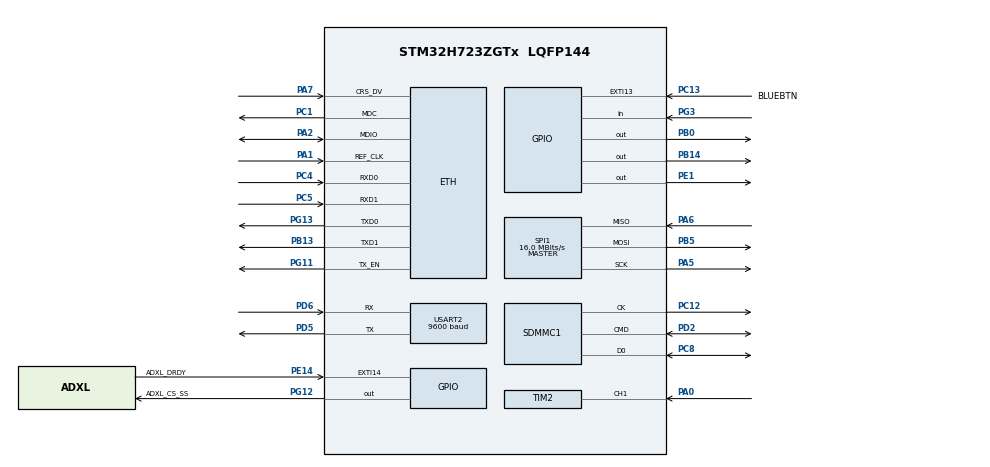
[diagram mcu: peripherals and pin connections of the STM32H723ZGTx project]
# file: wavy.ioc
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CORTEX_M7.CPU_DCache=Disabled
CORTEX_M7.CPU_ICache=Disabled
CORTEX_M7.Enable_S-Cortex_Memory_Protection_Unit_Region1_Settings_S=__NULL
CORTEX_M7.Enable_S-Cortex_Memory_Protection_Unit_Region2_Settings_S=__NULL
CORTEX_M7.Enable_S-Cortex_Memory_Protection_Unit_Region3_Settings_S=__NULL
CORTEX_M7.default_mode_Activation=1
Cesanta.I-CUBE-Mongoose.7.21.4.MongooseJjMQTTOoClient=true
Cesanta.I-CUBE-Mongoose.7.21.4.MongooseJjNetworkingOoCore=true
Dma.Request0=USART2_RX
Dma.USART2_RX.0.Direction=DMA_PERIPH_TO_MEMORY
Dma.USART2_RX.0.EventEnable=DISABLE
Dma.USART2_RX.0.FIFOMode=DMA_FIFOMODE_DISABLE
Dma.USART2_RX.0.Instance=DMA1_Stream0
Dma.USART2_RX.0.MemDataAlignment=DMA_MDATAALIGN_BYTE
Dma.USART2_RX.0.MemInc=DMA_MINC_ENABLE
Dma.USART2_RX.0.Mode=DMA_CIRCULAR
Dma.USART2_RX.0.PeriphDataAlignment=DMA_PDATAALIGN_BYTE
Dma.USART2_RX.0.PeriphInc=DMA_PINC_DISABLE
Dma.USART2_RX.0.Polarity=HAL_DMAMUX_REQ_GEN_RISING
Dma.USART2_RX.0.Priority=DMA_PRIORITY_LOW
Dma.USART2_RX.0.RequestNumber=1
Dma.USART2_RX.0.SignalID=NONE
Dma.USART2_RX.0.SyncEnable=DISABLE
Dma.USART2_RX.0.SyncPolarity=HAL_DMAMUX_SYNC_NO_EVENT
Dma.USART2_RX.0.SyncRequestNumber=1
Dma.USART2_RX.0.SyncSignalID=NONE
ETH.MediaInterface=HAL_ETH_RMII_MODE
FATFS.BSP.number=1
FATFS._FS_EXFAT=1
FATFS._USE_LFN=2
FATFS0.BSP.STBoard=false
FATFS0.BSP.api=Unknown
FATFS0.BSP.instance=PG3
FATFS0.BSP.ip=GPIO
FATFS0.BSP.mode=Input
FATFS0.BSP.name=Detect_SDIO
FATFS0.BSP.solution=PG3
FREERTOS.HEAP_NUMBER=4
FREERTOS.Tasks01=defaultTask,24,128,StartDefaultTask,Default,NULL,Dynamic,NULL,NULL
FREERTOS.configCHECK_FOR_STACK_OVERFLOW=1
FREERTOS.configTOTAL_HEAP_SIZE=32768
FREERTOS.configUSE_MALLOC_FAILED_HOOK=0
Mcu.Family=STM32H7
Mcu.Name=STM32H723ZGTx
Mcu.Package=LQFP144
NUCLEO-H723ZG.BUTTON=0
NUCLEO-H723ZG.LD1=false
NUCLEO-H723ZG.LD2=false
NUCLEO-H723ZG.LD3=false
NUCLEO-H723ZG.VCP=true
NVIC.DMA1_Stream0_IRQn=true\:5\:0\:false\:false\:true\:true\:false\:true\:true
NVIC.EXTI15_10_IRQn=true\:5\:0\:false\:false\:true\:true\:false\:true\:true
NVIC.PriorityGroup=NVIC_PRIORITYGROUP_4
NVIC.SDMMC1_IRQn=true\:5\:0\:false\:false\:true\:true\:true\:true\:true
NVIC.TIM2_IRQn=true\:5\:0\:false\:false\:true\:true\:true\:true\:true
NVIC.TIM5_IRQn=true\:5\:0\:false\:false\:true\:true\:true\:true\:true
NVIC.TIM6_DAC_IRQn=true\:15\:0\:false\:false\:true\:false\:false\:true\:true
NVIC.TimeBase=TIM6_DAC_IRQn
NVIC.TimeBaseIP=TIM6
NVIC.USART2_IRQn=true\:5\:0\:false\:false\:true\:true\:true\:true\:true
PA0.Signal=S_TIM2_CH1_ETR
PA1.Mode=RMII
PA1.Signal=ETH_REF_CLK
PA13(JTMS/SWDIO).GPIO_Label=SWDIO
PA13(JTMS/SWDIO).Signal=DEBUG_JTMS-SWDIO
PA14(JTCK/SWCLK).GPIO_Label=SWCLK
PA14(JTCK/SWCLK).Signal=DEBUG_JTCK-SWCLK
PA2.Mode=RMII
PA2.Signal=ETH_MDIO
PA5.Mode=Full_Duplex_Master
PA5.Signal=SPI1_SCK
PA6.Mode=Full_Duplex_Master
PA6.Signal=SPI1_MISO
PA7.Mode=RMII
PA7.Signal=ETH_CRS_DV
PB0.Signal=GPIO_Output
PB13.Mode=RMII
PB13.Signal=ETH_TXD1
PB14.Signal=GPIO_Output
PB5.Mode=Full_Duplex_Master
PB5.Signal=SPI1_MOSI
PC1.Mode=RMII
PC1.Signal=ETH_MDC
PC12.Mode=SD_1_bit
PC12.Signal=SDMMC1_CK
PC13.GPIO_Label=BLUEBTN
PC13.Signal=GPXTI13
PC14-OSC32_IN.Mode=LSE-External-Oscillator
PC14-OSC32_IN.Signal=RCC_OSC32_IN
PC15-OSC32_OUT.Mode=LSE-External-Oscillator
PC15-OSC32_OUT.Signal=RCC_OSC32_OUT
PC4.Mode=RMII
PC4.Signal=ETH_RXD0
PC5.Mode=RMII
PC5.Signal=ETH_RXD1
PC8.Mode=SD_1_bit
PC8.Signal=SDMMC1_D0
PD2.Mode=SD_1_bit
PD2.Signal=SDMMC1_CMD
PD5.Mode=Asynchronous
PD5.Signal=USART2_TX
PD6.Mode=Asynchronous
PD6.Signal=USART2_RX
PD8.Signal=USART3_TX
PD9.Signal=USART3_RX
PE1.Signal=GPIO_Output
PE14.GPIO_Label=ADXL_DRDY
PE14.Signal=GPXTI14
PG11.Mode=RMII
PG11.Signal=ETH_TX_EN
PG12.GPIO_Label=ADXL_CS_SS
PG12.PinState=GPIO_PIN_SET
PG12.Signal=GPIO_Output
PG13.Mode=RMII
PG13.Signal=ETH_TXD0
PG3.Signal=GPIO_Input
ProjectManager.HeapSize=0x10000
ProjectManager.StackSize=0x2000
ProjectManager.TargetToolchain=CMake
RCC.ADCFreq_Value=608000000
RCC.APB1Freq_Value=96000000
RCC.APB2Freq_Value=96000000
RCC.APB3Freq_Value=96000000
RCC.APB4Freq_Value=96000000
RCC.CortexFreq_Value=384000000
RCC.D1PPRE=RCC_APB3_DIV2
RCC.D2PPRE1=RCC_APB1_DIV2
RCC.D2PPRE2=RCC_APB2_DIV2
RCC.D3PPRE=RCC_APB4_DIV2
RCC.DIVM1=4
RCC.DIVM2=1
RCC.DIVN1=24
RCC.DIVN2=19
RCC.DIVP1=1
RCC.DIVQ1=3
RCC.HCLKFreq_Value=192000000
RCC.HPRE=RCC_HCLK_DIV2
RCC.HSE_VALUE=8000000
RCC.PLLFRACN=0
RCC.RTCClockSelection=RCC_RTCCLKSOURCE_LSE
RCC.SYSCLKFreq_VALUE=384000000
RCC.SYSCLKSource=RCC_SYSCLKSOURCE_PLLCLK
RCC.USBCLockSelection=RCC_USBCLKSOURCE_HSI48
RCC.USBFreq_Value=48000000
RTC.WakeUpCounter-WakeUp=2048
SDMMC1.ClockDiv=320
SH.S_TIM2_CH1_ETR.0=TIM2_CH1,Input_Capture1_from_TI1
SPI1.BaudRatePrescaler=SPI_BAUDRATEPRESCALER_8
SPI1.CalculateBaudRate=16.0 MBits/s
SPI1.DataSize=SPI_DATASIZE_8BIT
SPI1.Direction=SPI_DIRECTION_2LINES
SPI1.Mode=SPI_MODE_MASTER
SPI1.VirtualType=VM_MASTER
TIM2.Channel-Input_Capture1_from_TI1=TIM_CHANNEL_1
TIM5.Period=10000-1
TIM5.Prescaler=19200-1
USART2.BaudRate=9600
USART2.VirtualMode-Asynchronous=VM_ASYNC
VP_Cesanta.I-CUBE-Mongoose_VS_MongooseJjMQTTOoClient_7.21.4_7.21.4.Mode=MongooseJjMQTTOoClient
VP_Cesanta.I-CUBE-Mongoose_VS_MongooseJjNetworkingOoCore_7.21.4_7.21.4.Mode=MongooseJjNetworkingOoCore
VP_FATFS_VS_SDIO.Mode=SDIO
VP_FREERTOS_VS_CMSIS_V2.Mode=CMSIS_V2
VP_MEMORYMAP_VS_MEMORYMAP.Mode=CurAppReg
VP_NUCLEO-H723ZG_VS_BSP_COMMON.Mode=COMMON
VP_RNG_VS_RNG.Mode=RNG_Activate
VP_RTC_VS_RTC_Activate.Mode=RTC_Enabled
VP_RTC_VS_RTC_Calendar.Mode=RTC_Calendar
VP_RTC_VS_RTC_WakeUp_intern.Mode=WakeUp
VP_SYS_VS_tim6.Mode=TIM6
VP_TIM5_VS_ClockSourceINT.Mode=Internal
board=NUCLEO-H723ZG

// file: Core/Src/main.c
/* USER CODE BEGIN Header */
/**
 ******************************************************************************
 * @file           : main.c
 * @brief          : Main program body
 ******************************************************************************
 * @attention
 *
 * Copyright (c) 2026 STMicroelectronics.
 * All rights reserved.
 *
 * This software is licensed under terms that can be found in the LICENSE file
 * in the root directory of this software component.
 * If no LICENSE file comes with this software, it is provided AS-IS.
 *
 ******************************************************************************
 */
/* USER CODE END Header */
#include "main.h"
#include "FreeRTOS.h"
#include "cmsis_os2.h"
#include "fatfs.h"
#include "string.h"

/* USER CODE BEGIN Includes */
/// Utility I wrote
#include "axl.h"
/// Networking library, never really used it...
#include "mongoose.h"
#include "stdlib.h"
#include "string.h"
/// Common functions
#include "wavy.h"
/* USER CODE END Includes */

#if defined(__ICCARM__) /*!< IAR Compiler */
#pragma location = 0x30000000
ETH_DMADescTypeDef
    DMARxDscrTab[ETH_RX_DESC_CNT]; /* Ethernet Rx DMA Descriptors */
#pragma location = 0x30000080
ETH_DMADescTypeDef
    DMATxDscrTab[ETH_TX_DESC_CNT]; /* Ethernet Tx DMA Descriptors */

#elif defined(__CC_ARM) /* MDK ARM Compiler */

__attribute__((at(0x30000000))) ETH_DMADescTypeDef
    DMARxDscrTab[ETH_RX_DESC_CNT]; /* Ethernet Rx DMA Descriptors */
__attribute__((at(0x30000080))) ETH_DMADescTypeDef
    DMATxDscrTab[ETH_TX_DESC_CNT]; /* Ethernet Tx DMA Descriptors */

#elif defined(__GNUC__) /* GNU Compiler */

ETH_DMADescTypeDef DMARxDscrTab[ETH_RX_DESC_CNT] __attribute__((
    section(".RxDescripSection"))); /* Ethernet Rx DMA Descriptors */
ETH_DMADescTypeDef DMATxDscrTab[ETH_TX_DESC_CNT] __attribute__((
    section(".TxDescripSection"))); /* Ethernet Tx DMA Descriptors */
#endif

ETH_TxPacketConfig TxConfig;

COM_InitTypeDef BspCOMInit;

ETH_HandleTypeDef heth;

RNG_HandleTypeDef hrng;

RTC_HandleTypeDef hrtc;

SD_HandleTypeDef hsd1;

SPI_HandleTypeDef hspi1;

TIM_HandleTypeDef htim2;
TIM_HandleTypeDef htim5;

UART_HandleTypeDef huart2;
DMA_HandleTypeDef  hdma_usart2_rx;

/* Definitions for defaultTask */
osThreadId_t         defaultTaskHandle;
const osThreadAttr_t defaultTask_attributes = {
    .name       = "defaultTask",
    .stack_size = 128 * 4,
    .priority   = (osPriority_t)osPriorityNormal,
};
/* USER CODE BEGIN PV */
void
parse_nmea(void);
int
_write(int            fd,
       unsigned char* buf,
       int            len)
{
    HAL_UART_Transmit(&hcom_uart[COM1], buf, len, HAL_MAX_DELAY);
    return len;
}

/// NOTE: The whole firmware init should include verification of sd card,
/// the fs, settings bit flags on if we are saving to sd or just transmitting
/// (should also include the adxl section etc etc
// TODO: Initialization takes into consideration other sensors
// TODO: Check frequency
// FIXME: add some led blinking showing initialization (partly implemented)

/// Thread metadata
/// The stack numbers were sort of arbitrarily chosen...
osThreadId_t         pps_thread_handle;
const osThreadAttr_t pps_thread_attributes = {
    .name       = "ppsTask",
    .stack_size = DEFAULT_STACK_SIZE * 4,
    .priority   = (osPriority_t)osPriorityNormal,
};
osThreadId_t         gps_thread_handle;
const osThreadAttr_t gps_thread_attributes = {
    .name       = "gpsTask",
    .stack_size = DEFAULT_STACK_SIZE * 4,
    .priority   = (osPriority_t)osPriorityNormal,
};
osThreadId_t         adxl_thread_handle;
const osThreadAttr_t adxl_thread_attributes = {
    .name       = "adxlTask",
    .stack_size = DEFAULT_STACK_SIZE * 4,
    .priority   = (osPriority_t)osPriorityNormal,
};
osThreadId_t         mngs_thread_handle;
const osThreadAttr_t mngs_thread_attributes = {
    .name       = "mngsTask",
    .stack_size = DEFAULT_STACK_SIZE * 16,
    .priority   = (osPriority_t)osPriorityNormal,
};
osThreadId_t         sdcard_thread_handle;
const osThreadAttr_t sdcard_thread_attributes = {
    .name = "sdcardTask",
    // FIXME: Maybe we can lower this? lol
    .stack_size = DEFAULT_STACK_SIZE * 32,
    .priority   = (osPriority_t)osPriorityNormal,
};

/// Main mongoose thread that will be associated with the handle
void
mngs_thread(void* argument)
{
    struct mg_mgr mgr;
    mg_mgr_init(&mgr);
    mg_log_set(MG_LL_DEBUG);
    while (1)
    {
        mg_mgr_poll(&mgr, 0);
    }
}
// FIXME: how should sensitivity be chosen and in what variable will it be kept
WAVYD1 struct wavyGPS wavyTimeData = {
    .format = {'\0'}, .date_str = {'\0'}, .time_str = {'\0'}};
uint8_t wavyBuf[ADXL_BUFF_SIZE_UNALIGNED] = {0};
// BUG: Test this without WAVY_D1
WAVYD1 uint8_t wavyBackBuf[ADXL_BUFF_SIZE] = {0};
uint8_t        wavyFifo[ADXL_BUFF_SIZE]    = {0};

WAVYD1 FATFS  fs;
WAVYD1 FATFS* fs_ptr;
WAVYD1 FIL    file;
WAVYD1 BYTE   work[512];

#define SDPREPW   0b00000001
#define SDREADYW  0b00000010
#define SDUNMOUNT 0b10000000
uint8_t sdflags = 0;
/// All of this function is very very messy
void
sdcard_thread(void* argument)
{
    FRESULT ecr, ew, efc, em, eum, efree;
    DWORD   freeclust;
    // ecr = f_mkfs("", FM_EXFAT, 0, work, 512);
    osThreadFlagsWait(SDINIT_THR_FLAG, osFlagsWaitAny, osWaitForever);
    char fname[16];
    memcpy(fname, wavyTimeData.time_str, 6);
    fname[6] = '_';
    memcpy(fname + 7, wavyTimeData.date_str, 6);
    fname[13] = '_';
    int m     = '0';
    fname[14] = m;
    fname[15] = '\0';
    UINT    x;
    UINT    y;
    uint8_t wMarker[32] = {'w', 'a', 'v', 'y'};
    while (1)
    {
        if (!(sdflags & SDREADYW))
        {
            osThreadFlagsWait(SDPREPW_THR_FLAG, osFlagsWaitAny, osWaitForever);
            em = f_mount(&fs, "", 1);
            if (em == FR_OK)
            {
                HAL_GPIO_TogglePin(LED1_GPIO_PORT, LED1_PIN);
            }
            else
                Error_Handler();
            fname[14] += 1;
            em = f_open(&file, fname, FA_CREATE_ALWAYS | FA_WRITE);

            RTC_TimeTypeDef time;
            RTC_DateTypeDef date;
            HAL_RTC_GetTime(&hrtc, &time, RTC_FORMAT_BCD);
            HAL_RTC_GetDate(&hrtc, &date, RTC_FORMAT_BCD);
            wMarker[4] = date.Year;
            wMarker[5] = date.Month;
            wMarker[6] = date.Date;
            wMarker[7] = time.Seconds;
            wMarker[8] = time.Minutes;
            wMarker[9] = time.Hours;
            // wMarker[10] = delta;
            ew = f_write(&file, wMarker, 32, &y);
            if (em != FR_OK) Error_Handler();
            sdflags |= SDREADYW;
        }
        osThreadFlagsWait(SDWRITE_THR_FLAG, osFlagsWaitAny, osWaitForever);
        ew = f_write(&file, wavyBackBuf, ADXL_BUFF_SIZE, &x);
        if ((sdflags & SDUNMOUNT))
        {
            efc     = f_close(&file);
            eum     = f_mount(NULL, "", 0);
            sdflags = 0;
            __NOP();
        }
    }
}

void
package_prev_second()
{
    struct WavyPack wavy;
    memcpy(wavy.xyz, wavyBackBuf, ADXL_BUFF_SIZE_UNALIGNED);
    __NOP();
}
uint32_t       start_time;
uint32_t       end_time;
uint32_t       tot_time;
uint8_t        pps_enabled      = 0;
WAVYD1 uint8_t gps_rx[GPSRXSIZ] = {'a'};
/// The next two functions are used to basically just get the first tick,
/// then everything is handed off to the internal timer
/// In theory PPS is the best way to keep time, however...
/// It is better to have a safer mechanism, like syncing once with pps
/// then keeping time with something that cannot be lost (the pps signal lol)
void
pps_thread(void* argument)
{
    HAL_UARTEx_ReceiveToIdle_IT(&huart2, gps_rx, GPSRXSIZ);
    HAL_TIM_IC_Start_IT(&htim2, TIM_CHANNEL_1);
    while (1)
    {
        osThreadFlagsWait(PPS_TICK_THR_FLAG, osFlagsWaitAny, osWaitForever);
        // package_prev_second();
        // osThreadFlagsSet(gps_thread_handle, GPS_RX_THR_FLAG);
        // osDelay(1);
    }
}
uint8_t adxltoggle = 0;
uint8_t peep       = 0;
void
HAL_TIM_IC_CaptureCallback(TIM_HandleTypeDef* htim)
{
    if (htim->Instance == TIM2 && htim->Channel == HAL_TIM_ACTIVE_CHANNEL_1)
    {
        pps_enabled = 1;
        start_time  = osKernelGetTickCount();
        HAL_TIM_Base_Start_IT(&htim5);

        HAL_TIM_IC_Stop_IT(&htim2, TIM_CHANNEL_1);
    }
}

void
HAL_UARTEx_RxEventCallback(UART_HandleTypeDef* huart,
                           uint16_t            Size)
{
    if (huart->Instance == USART2)
    {
        // should be enabled after the first tick
        if (pps_enabled)
        {
            parse_nmea();
            HAL_UART_DeInit(&huart2);
        }
        else
        {
            // turns on the uart, this is to avoid synchronization issues with
            // huart
            HAL_UARTEx_ReceiveToIdle_IT(&huart2, gps_rx, GPSRXSIZ);
            memset(gps_rx, '\0', GPSRXSIZ);
        }
    }
    // osThreadFlagsSet(gps_thread_handle, NMEA_PROC_THR_FLAG);
}
uint32_t errs = 0;
void
HAL_UART_ErrorCallback(UART_HandleTypeDef* huart)
{
    // BUG: nasty hal bug
    __HAL_UART_CLEAR_OREFLAG(huart);
    errs++;
    if (errs == 2)
    {
        __NOP();
    }
    HAL_UARTEx_ReceiveToIdle_IT(&huart2, gps_rx, GPSRXSIZ);
}

void
HAL_GPIO_EXTI_Callback(uint16_t GPIO_Pin)
{
    if (GPIO_Pin == ADXL_DRDY_Pin)
    {
        osThreadFlagsSet(adxl_thread_handle, ADXL_DATA_THR_FLAG);
    }
    if (GPIO_Pin == BLUEBTN_Pin)
    {
        HAL_GPIO_TogglePin(LED1_GPIO_PORT, LED1_PIN);
        if (sdflags == 0)
        {
            sdflags |= SDPREPW;
        }
        if (sdflags & SDREADYW)
        {
            sdflags |= SDUNMOUNT;
        }
    }
}

void
parse_nmea(void)
{
    char    buf[12]        = {'\0'};
    uint8_t datetime_flags = 0x00;
    uint8_t scratch        = 0;
    uint8_t section        = 0;
    // FIXME: this should save the whole time and date string,
    // then parse that, as opposed to reading 2 then 2
    for (int idx = 0; idx < GPSRXSIZ; idx++)
    {
        if (gps_rx[idx] == '$')
        {
            idx++;
            // Not enough data
            if (idx >= 1018) break;
            // FIXME: I dont like this...
            memcpy(wavyTimeData.format, gps_rx + idx, 5);
            wavyTimeData.format[5] = '\0';
            // NOTE: GNRMC state machine, we favor GNRMC because it provides the
            // most data
            if (strcmp("GNRMC", wavyTimeData.format) == 0)
            {
                idx += 5;
                size_t jdx = 0;
                while (idx < GPSRXSIZ)
                {
                    if (gps_rx[idx] == ',')
                    {
                        idx++;
                        section++;
                        continue;
                    }
                    if (section == PARSE_TIME)
                    {
                        buf[jdx] = gps_rx[idx];
                        if (jdx == 5 && !(datetime_flags & TIME_OBTAINED))
                        {
                            memcpy(wavyTimeData.time_str, buf, 6);
                            wavyTimeData.time_str[6] = '\0';
                            char* seconds_slice      = buf + 4;
                            char* minutes_slice      = buf + 2;
                            char* hours_slice        = buf;
                            scratch = strtol(seconds_slice, NULL, 10);
                            wavyTimeData.time.Seconds = scratch;
                            seconds_slice[0]          = '\0'; // End string here

                            scratch = strtol(minutes_slice, NULL, 10);
                            wavyTimeData.time.Minutes = scratch;
                            minutes_slice[0]          = '\0';

                            scratch = strtol(hours_slice, NULL, 10);
                            wavyTimeData.time.Hours          = scratch;
                            wavyTimeData.time.SubSeconds     = 0;
                            wavyTimeData.time.SecondFraction = 0;
                            wavyTimeData.time.DayLightSaving =
                                RTC_DAYLIGHTSAVING_NONE;
                            wavyTimeData.time.StoreOperation =
                                RTC_STOREOPERATION_RESET;

                            datetime_flags |= TIME_OBTAINED;
                            // FIXME: the size should be a macro
                            memset(buf, '\0', 12);
                            jdx = 0;
                            // skip the .000 for now
                            idx += 4;
                            idx++;
                            continue;
                        }
                        jdx++;
                    }
                    else if (section == PARSE_DATE)
                    {
                        buf[jdx] = gps_rx[idx];
                        if (jdx == 5 && !(datetime_flags & DATE_OBTAINED))
                        {
                            memcpy(wavyTimeData.date_str, buf, 6);
                            wavyTimeData.date_str[6] = '\0';
                            char* year_slice         = buf + 4;
                            char* month_slice        = buf + 2;
                            char* day_slice          = buf;

                            scratch                = strtol(year_slice, NULL, 10);
                            wavyTimeData.date.Year = scratch;
                            year_slice[0]          = '\0';

                            scratch = strtol(month_slice, NULL, 16);
                            wavyTimeData.date.Month = scratch;
                            month_slice[0]          = '\0';

                            scratch                 = strtol(day_slice, NULL, 10);
                            wavyTimeData.date.Date  = scratch;
                            wavyTimeData.date.WeekDay = RTC_WEEKDAY_MONDAY;

                            datetime_flags |= DATE_OBTAINED;
                            // while (1)
                            // {
                            //     osDelay(1);
                            // }

                            jdx = 0;
                            idx++;
                            break;
                        }
                        jdx++;
                    }
                    idx++;
                }
            }
            else
            {
                // Skip and parse
                idx += 4;
            }
            if ((datetime_flags & TIME_OBTAINED) &&
                (datetime_flags & DATE_OBTAINED))
                break;
        }
    }
}

// FIXME: Add configurability for frequency of sensor, this includes the
// ADXL_BUFF_SIZE and ADXL_CHUNK_SIZE
void
adxl_thread(void* argument)
{
    HAL_NVIC_EnableIRQ(ADXL_DRDY_EXTI_IRQn);

    uint16_t buf_idx  = 0;
    uint16_t cbuf_idx = ADXL_CHUNK_SIZE;
    uint8_t  mult     = 1;
    for (int i = ADXL_BUFF_SIZE_UNALIGNED; i < ADXL_BUFF_SIZE; i++)
    {
        wavyFifo[i]    = 1;
        wavyBackBuf[i] = 1;
    }
    while (1)
    {
        // FIXME: This could actually all be implemented into 1 fifo and no
        // wavybuf
        osThreadFlagsWait(ADXL_DATA_THR_FLAG, osFlagsWaitAll, osWaitForever);
        adxl355_read_data(&hspi1, wavyBuf + buf_idx);
        // FIXME: isnt buf_idx always the same as cbuf_idx?
        // THINK: We might be able to get away with deleting cbuf_idx
        // FIXME: This whole double idx is weird
        buf_idx += 9;
        if (buf_idx >= cbuf_idx)
        {
            memcpy(wavyFifo, wavyFifo + ADXL_CHUNK_SIZE,
                   ADXL_BUFF_SIZE_UNALIGNED - ADXL_CHUNK_SIZE);
            memcpy(wavyFifo + (ADXL_BUFF_SIZE_UNALIGNED - ADXL_CHUNK_SIZE),
                   wavyBuf + (cbuf_idx - ADXL_CHUNK_SIZE), ADXL_CHUNK_SIZE);
            mult++;
            cbuf_idx = ADXL_CHUNK_SIZE * mult;
            if (cbuf_idx > ADXL_BUFF_SIZE_UNALIGNED)
            {
                cbuf_idx = ADXL_CHUNK_SIZE;
                mult     = 1;
            }
        }
        if (buf_idx == ADXL_BUFF_SIZE_UNALIGNED)
        {
            buf_idx = 0;
            HAL_GPIO_TogglePin(LED3_GPIO_PORT, LED3_PIN);
        }
    }
}
uint8_t time_synced = 0;
void
HAL_RTCEx_WakeUpTimerEventCallback(RTC_HandleTypeDef* hrtc)
{
    __NOP();
}
/* USER CODE END PV */

void
SystemClock_Config(void);
static void
MPU_Config(void);
static void
MX_GPIO_Init(void);
static void
MX_DMA_Init(void);
static void
MX_SPI1_Init(void);
static void
MX_ETH_Init(void);
static void
MX_RNG_Init(void);
static void
MX_RTC_Init(void);
static void
MX_SDMMC1_SD_Init(void);
static void
MX_USART2_UART_Init(void);
static void
MX_TIM2_Init(void);
static void
MX_TIM5_Init(void);
void
StartDefaultTask(void* argument);

/* USER CODE BEGIN PFP */

/* USER CODE END PFP *
/

int
main(void)
{

    /* MPU Configuration--------------------------------------------------------*/
    MPU_Config();

    /* MCU Configuration--------------------------------------------------------*/

    /* Reset of all peripherals, Initializes the Flash interface and the Systick.
     */
    HAL_Init();

    /* Configure the system clock */
    SystemClock_Config();

    /* Initialize all configured peripherals */
    MX_GPIO_Init();
    MX_DMA_Init();
    MX_SPI1_Init();
    MX_ETH_Init();
    MX_RNG_Init();
    MX_FATFS_Init();
    MX_RTC_Init();
    MX_SDMMC1_SD_Init();
    MX_USART2_UART_Init();
    MX_TIM2_Init();
    MX_TIM5_Init();
    /* USER CODE BEGIN 2 */
    // HAL_UART_DeInit(&huart2);
    //  Required for interrupts
    HAL_NVIC_SetPriorityGrouping(NVIC_PRIORITYGROUP_4);
    // HAL_UART_DeInit(&huart2);
    // This ensures the interrupt doesnt fire immediately
    __HAL_TIM_CLEAR_IT(&htim5, TIM_IT_UPDATE);
    // We want to choose when to enable this
    HAL_NVIC_DisableIRQ(ADXL_DRDY_EXTI_IRQn);
    adxl355_init(&hspi1);
    /* USER CODE END 2 */

    /* Init scheduler */
    osKernelInitialize();

    /* Create the thread(s) */
    /* creation of defaultTask */
    defaultTaskHandle =
        osThreadNew(StartDefaultTask, NULL, &defaultTask_attributes);

    /* USER CODE BEGIN RTOS_THREADS */
    /* add threads, ... */
    pps_thread_handle = osThreadNew(pps_thread, NULL, &pps_thread_attributes);
    //  gps_thread_handle  = osThreadNew(gps_thread, NULL,
    //  &gps_thread_attributes);
    adxl_thread_handle = osThreadNew(adxl_thread, NULL, &adxl_thread_attributes);
    // mngs_thread_handle   = osThreadNew(mngs_thread, NULL,
    // &mngs_thread_attributes);
    sdcard_thread_handle =
        osThreadNew(sdcard_thread, NULL, &sdcard_thread_attributes);
    /* USER CODE END RTOS_THREADS */

    /* Initialize COM1 port (115200, 8 bits (7-bit data + 1 stop bit), no parity
     */
    BspCOMInit.BaudRate   = 115200;
    BspCOMInit.WordLength = COM_WORDLENGTH_8B;
    BspCOMInit.StopBits   = COM_STOPBITS_1;
    BspCOMInit.Parity     = COM_PARITY_NONE;
    BspCOMInit.HwFlowCtl  = COM_HWCONTROL_NONE;
    if (BSP_COM_Init(COM1, &BspCOMInit) != BSP_ERROR_NONE)
    {
        Error_Handler();
    }

    /* Start scheduler */
    osKernelStart();

    /* We should never get here as control is now taken by the scheduler */

    /* Infinite loop */
    while (1)
    {

    }
}

void
SystemClock_Config(void)
{
    RCC_OscInitTypeDef RCC_OscInitStruct = {0};
    RCC_ClkInitTypeDef RCC_ClkInitStruct = {0};

    /** Supply configuration update enable
     */
    HAL_PWREx_ConfigSupply(PWR_LDO_SUPPLY);

    /** Configure the main internal regulator output voltage
     */
    __HAL_PWR_VOLTAGESCALING_CONFIG(PWR_REGULATOR_VOLTAGE_SCALE1);

    while (!__HAL_PWR_GET_FLAG(PWR_FLAG_VOSRDY))
    {
    }

    /** Configure LSE Drive Capability
     */
    HAL_PWR_EnableBkUpAccess();
    __HAL_RCC_LSEDRIVE_CONFIG(RCC_LSEDRIVE_LOW);

    /** Initializes the RCC Oscillators according to the specified parameters
     * in the RCC_OscInitTypeDef structure.
     */
    RCC_OscInitStruct.OscillatorType      = RCC_OSCILLATORTYPE_HSI48 |
                                            RCC_OSCILLATORTYPE_HSI |
                                            RCC_OSCILLATORTYPE_LSE;
    RCC_OscInitStruct.LSEState            = RCC_LSE_ON;
    RCC_OscInitStruct.HSIState            = RCC_HSI_DIV1;
    RCC_OscInitStruct.HSICalibrationValue = 64;
    RCC_OscInitStruct.HSI48State          = RCC_HSI48_ON;
    RCC_OscInitStruct.PLL.PLLState        = RCC_PLL_ON;
    RCC_OscInitStruct.PLL.PLLSource       = RCC_PLLSOURCE_HSI;
    RCC_OscInitStruct.PLL.PLLM            = 4;
    RCC_OscInitStruct.PLL.PLLN            = 24;
    RCC_OscInitStruct.PLL.PLLP            = 1;
    RCC_OscInitStruct.PLL.PLLQ            = 3;
    RCC_OscInitStruct.PLL.PLLR            = 2;
    RCC_OscInitStruct.PLL.PLLRGE          = RCC_PLL1VCIRANGE_3;
    RCC_OscInitStruct.PLL.PLLVCOSEL       = RCC_PLL1VCOWIDE;
    RCC_OscInitStruct.PLL.PLLFRACN        = 0;
    if (HAL_RCC_OscConfig(&RCC_OscInitStruct) != HAL_OK)
    {
        Error_Handler();
    }

    /** Initializes the CPU, AHB and APB buses clocks
     */
    RCC_ClkInitStruct.ClockType = RCC_CLOCKTYPE_HCLK | RCC_CLOCKTYPE_SYSCLK |
                                  RCC_CLOCKTYPE_PCLK1 | RCC_CLOCKTYPE_PCLK2 |
                                  RCC_CLOCKTYPE_D3PCLK1 | RCC_CLOCKTYPE_D1PCLK1;
    RCC_ClkInitStruct.SYSCLKSource   = RCC_SYSCLKSOURCE_PLLCLK;
    RCC_ClkInitStruct.SYSCLKDivider  = RCC_SYSCLK_DIV1;
    RCC_ClkInitStruct.AHBCLKDivider  = RCC_HCLK_DIV2;
    RCC_ClkInitStruct.APB3CLKDivider = RCC_APB3_DIV2;
    RCC_ClkInitStruct.APB1CLKDivider = RCC_APB1_DIV2;
    RCC_ClkInitStruct.APB2CLKDivider = RCC_APB2_DIV2;
    RCC_ClkInitStruct.APB4CLKDivider = RCC_APB4_DIV2;

    if (HAL_RCC_ClockConfig(&RCC_ClkInitStruct, FLASH_LATENCY_2) != HAL_OK)
    {
        Error_Handler();
    }
}

static void
MX_ETH_Init(void)
{

    static uint8_t MACAddr[6];

    heth.Instance            = ETH;
    MACAddr[0]               = 0x00;
    MACAddr[1]               = 0x80;
    MACAddr[2]               = 0xE1;
    MACAddr[3]               = 0x00;
    MACAddr[4]               = 0x00;
    MACAddr[5]               = 0x00;
    heth.Init.MACAddr        = &MACAddr[0];
    heth.Init.MediaInterface = HAL_ETH_RMII_MODE;
    heth.Init.TxDesc         = DMATxDscrTab;
    heth.Init.RxDesc         = DMARxDscrTab;
    heth.Init.RxBuffLen      = 1536;

    if (HAL_ETH_Init(&heth) != HAL_OK)
    {
        Error_Handler();
    }
}

static void
MX_RNG_Init(void)
{

    hrng.Instance                 = RNG;
    hrng.Init.ClockErrorDetection = RNG_CED_ENABLE;
    if (HAL_RNG_Init(&hrng) != HAL_OK)
    {
        Error_Handler();
    }
}

static void
MX_RTC_Init(void)
{

    RTC_TimeTypeDef sTime = {0};
    RTC_DateTypeDef sDate = {0};

    /** Initialize RTC Only
     */
    hrtc.Instance            = RTC;
    hrtc.Init.HourFormat     = RTC_HOURFORMAT_24;
    hrtc.Init.AsynchPrediv   = 127;
    hrtc.Init.SynchPrediv    = 255;
    hrtc.Init.OutPut         = RTC_OUTPUT_DISABLE;
    hrtc.Init.OutPutPolarity = RTC_OUTPUT_POLARITY_HIGH;
    hrtc.Init.OutPutType     = RTC_OUTPUT_TYPE_OPENDRAIN;
    hrtc.Init.OutPutRemap    = RTC_OUTPUT_REMAP_NONE;
    if (HAL_RTC_Init(&hrtc) != HAL_OK)
    {
        Error_Handler();
    }

    /** Initialize RTC and set the Time and Date
     */
    sTime.Hours          = 0x0;
    sTime.Minutes        = 0x0;
    sTime.Seconds        = 0x0;
    sTime.DayLightSaving = RTC_DAYLIGHTSAVING_NONE;
    sTime.StoreOperation = RTC_STOREOPERATION_RESET;
    if (HAL_RTC_SetTime(&hrtc, &sTime, RTC_FORMAT_BCD) != HAL_OK)
    {
        Error_Handler();
    }
    sDate.WeekDay = RTC_WEEKDAY_MONDAY;
    sDate.Month   = RTC_MONTH_JANUARY;
    sDate.Date    = 0x1;
    sDate.Year    = 0x0;

    if (HAL_RTC_SetDate(&hrtc, &sDate, RTC_FORMAT_BCD) != HAL_OK)
    {
        Error_Handler();
    }

    /** Enable the WakeUp
     */
    if (HAL_RTCEx_SetWakeUpTimer(&hrtc, 2048, RTC_WAKEUPCLOCK_RTCCLK_DIV16) !=
        HAL_OK)
    {
        Error_Handler();
    }
}

static void
MX_SDMMC1_SD_Init(void)
{

    hsd1.Instance                 = SDMMC1;
    hsd1.Init.ClockEdge           = SDMMC_CLOCK_EDGE_RISING;
    hsd1.Init.ClockPowerSave      = SDMMC_CLOCK_POWER_SAVE_DISABLE;
    hsd1.Init.BusWide             = SDMMC_BUS_WIDE_1B;
    hsd1.Init.HardwareFlowControl = SDMMC_HARDWARE_FLOW_CONTROL_DISABLE;
    hsd1.Init.ClockDiv            = 320;
    if (HAL_SD_Init(&hsd1) != HAL_OK)
    {
        Error_Handler();
    }
}

static void
MX_SPI1_Init(void)
{

    /* SPI1 parameter configuration*/
    hspi1.Instance               = SPI1;
    hspi1.Init.Mode              = SPI_MODE_MASTER;
    hspi1.Init.Direction         = SPI_DIRECTION_2LINES;
    hspi1.Init.DataSize          = SPI_DATASIZE_8BIT;
    hspi1.Init.CLKPolarity       = SPI_POLARITY_LOW;
    hspi1.Init.CLKPhase          = SPI_PHASE_1EDGE;
    hspi1.Init.NSS               = SPI_NSS_SOFT;
    hspi1.Init.BaudRatePrescaler = SPI_BAUDRATEPRESCALER_8;
    hspi1.Init.FirstBit          = SPI_FIRSTBIT_MSB;
    hspi1.Init.TIMode            = SPI_TIMODE_DISABLE;
    hspi1.Init.CRCCalculation    = SPI_CRCCALCULATION_DISABLE;
    hspi1.Init.CRCPolynomial     = 0x0;
    hspi1.Init.NSSPMode          = SPI_NSS_PULSE_ENABLE;
    hspi1.Init.NSSPolarity       = SPI_NSS_POLARITY_LOW;
    hspi1.Init.FifoThreshold     = SPI_FIFO_THRESHOLD_01DATA;
    hspi1.Init.TxCRCInitializationPattern =
        SPI_CRC_INITIALIZATION_ALL_ZERO_PATTERN;
    hspi1.Init.RxCRCInitializationPattern =
        SPI_CRC_INITIALIZATION_ALL_ZERO_PATTERN;
    hspi1.Init.MasterSSIdleness        = SPI_MASTER_SS_IDLENESS_00CYCLE;
    hspi1.Init.MasterInterDataIdleness = SPI_MASTER_INTERDATA_IDLENESS_00CYCLE;
    hspi1.Init.MasterReceiverAutoSusp  = SPI_MASTER_RX_AUTOSUSP_DISABLE;
    hspi1.Init.MasterKeepIOState       = SPI_MASTER_KEEP_IO_STATE_DISABLE;
    hspi1.Init.IOSwap                  = SPI_IO_SWAP_DISABLE;
    if (HAL_SPI_Init(&hspi1) != HAL_OK)
    {
        Error_Handler();
    }
}

static void
MX_TIM2_Init(void)
{

    TIM_MasterConfigTypeDef sMasterConfig = {0};
    TIM_IC_InitTypeDef      sConfigIC     = {0};

    htim2.Instance               = TIM2;
    htim2.Init.Prescaler         = 0;
    htim2.Init.CounterMode       = TIM_COUNTERMODE_UP;
    htim2.Init.Period            = 4294967295;
    htim2.Init.ClockDivision     = TIM_CLOCKDIVISION_DIV1;
    htim2.Init.AutoReloadPreload = TIM_AUTORELOAD_PRELOAD_DISABLE;
    if (HAL_TIM_IC_Init(&htim2) != HAL_OK)
    {
        Error_Handler();
    }
    sMasterConfig.MasterOutputTrigger = TIM_TRGO_RESET;
    sMasterConfig.MasterSlaveMode     = TIM_MASTERSLAVEMODE_DISABLE;
    if (HAL_TIMEx_MasterConfigSynchronization(&htim2, &sMasterConfig) != HAL_OK)
    {
        Error_Handler();
    }
    sConfigIC.ICPolarity  = TIM_INPUTCHANNELPOLARITY_RISING;
    sConfigIC.ICSelection = TIM_ICSELECTION_DIRECTTI;
    sConfigIC.ICPrescaler = TIM_ICPSC_DIV1;
    sConfigIC.ICFilter    = 0;
    if (HAL_TIM_IC_ConfigChannel(&htim2, &sConfigIC, TIM_CHANNEL_1) != HAL_OK)
    {
        Error_Handler();
    }
}

static void
MX_TIM5_Init(void)
{

    TIM_ClockConfigTypeDef  sClockSourceConfig = {0};
    TIM_MasterConfigTypeDef sMasterConfig      = {0};

    htim5.Instance               = TIM5;
    htim5.Init.Prescaler         = 19200 - 1;
    htim5.Init.CounterMode       = TIM_COUNTERMODE_UP;
    htim5.Init.Period            = 10000 - 1;
    htim5.Init.ClockDivision     = TIM_CLOCKDIVISION_DIV1;
    htim5.Init.AutoReloadPreload = TIM_AUTORELOAD_PRELOAD_DISABLE;
    if (HAL_TIM_Base_Init(&htim5) != HAL_OK)
    {
        Error_Handler();
    }
    sClockSourceConfig.ClockSource = TIM_CLOCKSOURCE_INTERNAL;
    if (HAL_TIM_ConfigClockSource(&htim5, &sClockSourceConfig) != HAL_OK)
    {
        Error_Handler();
    }
    sMasterConfig.MasterOutputTrigger = TIM_TRGO_RESET;
    sMasterConfig.MasterSlaveMode     = TIM_MASTERSLAVEMODE_DISABLE;
    if (HAL_TIMEx_MasterConfigSynchronization(&htim5, &sMasterConfig) != HAL_OK)
    {
        Error_Handler();
    }
}

static void
MX_USART2_UART_Init(void)
{

    huart2.Instance                    = USART2;
    huart2.Init.BaudRate               = 9600;
    huart2.Init.WordLength             = UART_WORDLENGTH_8B;
    huart2.Init.StopBits               = UART_STOPBITS_1;
    huart2.Init.Parity                 = UART_PARITY_NONE;
    huart2.Init.Mode                   = UART_MODE_TX_RX;
    huart2.Init.HwFlowCtl              = UART_HWCONTROL_NONE;
    huart2.Init.OverSampling           = UART_OVERSAMPLING_16;
    huart2.Init.OneBitSampling         = UART_ONE_BIT_SAMPLE_DISABLE;
    huart2.Init.ClockPrescaler         = UART_PRESCALER_DIV1;
    huart2.AdvancedInit.AdvFeatureInit = UART_ADVFEATURE_NO_INIT;
    if (HAL_UART_Init(&huart2) != HAL_OK)
    {
        Error_Handler();
    }
    if (HAL_UARTEx_SetTxFifoThreshold(&huart2, UART_TXFIFO_THRESHOLD_1_8) !=
        HAL_OK)
    {
        Error_Handler();
    }
    if (HAL_UARTEx_SetRxFifoThreshold(&huart2, UART_RXFIFO_THRESHOLD_1_8) !=
        HAL_OK)
    {
        Error_Handler();
    }
    if (HAL_UARTEx_DisableFifoMode(&huart2) != HAL_OK)
    {
        Error_Handler();
    }
}

static void
MX_DMA_Init(void)
{

    /* DMA controller clock enable */
    __HAL_RCC_DMA1_CLK_ENABLE();

    /* DMA interrupt init */
    /* DMA1_Stream0_IRQn interrupt configuration */
    HAL_NVIC_SetPriority(DMA1_Stream0_IRQn, 5, 0);
    HAL_NVIC_EnableIRQ(DMA1_Stream0_IRQn);
}

static void
MX_GPIO_Init(void)
{
    GPIO_InitTypeDef GPIO_InitStruct = {0};

    /* GPIO Ports Clock Enable */
    __HAL_RCC_GPIOC_CLK_ENABLE();
    __HAL_RCC_GPIOA_CLK_ENABLE();
    __HAL_RCC_GPIOB_CLK_ENABLE();
    __HAL_RCC_GPIOE_CLK_ENABLE();
    __HAL_RCC_GPIOD_CLK_ENABLE();
    __HAL_RCC_GPIOG_CLK_ENABLE();

    /*Configure GPIO pin Output Level */
    HAL_GPIO_WritePin(GPIOB, GPIO_PIN_0 | GPIO_PIN_14, GPIO_PIN_RESET);

    /*Configure GPIO pin Output Level */
    HAL_GPIO_WritePin(ADXL_CS_SS_GPIO_Port, ADXL_CS_SS_Pin, GPIO_PIN_SET);

    /*Configure GPIO pin Output Level */
    HAL_GPIO_WritePin(GPIOE, GPIO_PIN_1, GPIO_PIN_RESET);

    /*Configure GPIO pin : BLUEBTN_Pin */
    GPIO_InitStruct.Pin  = BLUEBTN_Pin;
    GPIO_InitStruct.Mode = GPIO_MODE_IT_RISING;
    GPIO_InitStruct.Pull = GPIO_NOPULL;
    HAL_GPIO_Init(BLUEBTN_GPIO_Port, &GPIO_InitStruct);

    /*Configure GPIO pins : PB0 PB14 */
    GPIO_InitStruct.Pin   = GPIO_PIN_0 | GPIO_PIN_14;
    GPIO_InitStruct.Mode  = GPIO_MODE_OUTPUT_PP;
    GPIO_InitStruct.Pull  = GPIO_NOPULL;
    GPIO_InitStruct.Speed = GPIO_SPEED_FREQ_LOW;
    HAL_GPIO_Init(GPIOB, &GPIO_InitStruct);

    /*Configure GPIO pin : ADXL_DRDY_Pin */
    GPIO_InitStruct.Pin  = ADXL_DRDY_Pin;
    GPIO_InitStruct.Mode = GPIO_MODE_IT_RISING;
    GPIO_InitStruct.Pull = GPIO_NOPULL;
    HAL_GPIO_Init(ADXL_DRDY_GPIO_Port, &GPIO_InitStruct);

    /*Configure GPIO pins : PD8 PD9 */
    GPIO_InitStruct.Pin       = GPIO_PIN_8 | GPIO_PIN_9;
    GPIO_InitStruct.Mode      = GPIO_MODE_AF_PP;
    GPIO_InitStruct.Pull      = GPIO_NOPULL;
    GPIO_InitStruct.Speed     = GPIO_SPEED_FREQ_LOW;
    GPIO_InitStruct.Alternate = GPIO_AF7_USART3;
    HAL_GPIO_Init(GPIOD, &GPIO_InitStruct);

    /*Configure GPIO pin : PG3 */
    GPIO_InitStruct.Pin  = GPIO_PIN_3;
    GPIO_InitStruct.Mode = GPIO_MODE_INPUT;
    GPIO_InitStruct.Pull = GPIO_NOPULL;
    HAL_GPIO_Init(GPIOG, &GPIO_InitStruct);

    /*Configure GPIO pin : ADXL_CS_SS_Pin */
    GPIO_InitStruct.Pin   = ADXL_CS_SS_Pin;
    GPIO_InitStruct.Mode  = GPIO_MODE_OUTPUT_PP;
    GPIO_InitStruct.Pull  = GPIO_NOPULL;
    GPIO_InitStruct.Speed = GPIO_SPEED_FREQ_LOW;
    HAL_GPIO_Init(ADXL_CS_SS_GPIO_Port, &GPIO_InitStruct);

    /*Configure GPIO pin : PE1 */
    GPIO_InitStruct.Pin   = GPIO_PIN_1;
    GPIO_InitStruct.Mode  = GPIO_MODE_OUTPUT_PP;
    GPIO_InitStruct.Pull  = GPIO_NOPULL;
    GPIO_InitStruct.Speed = GPIO_SPEED_FREQ_LOW;
    HAL_GPIO_Init(GPIOE, &GPIO_InitStruct);

    /* EXTI interrupt init*/
    HAL_NVIC_SetPriority(BLUEBTN_EXTI_IRQn, 5, 0);
    HAL_NVIC_EnableIRQ(BLUEBTN_EXTI_IRQn);

}

void
StartDefaultTask(void* argument)
{
    for (;;)
    {
        osDelay(1);
    }
}

/* MPU Configuration */

void
MPU_Config(void)
{
    MPU_Region_InitTypeDef MPU_InitStruct = {0};

    /* Disables the MPU */
    HAL_MPU_Disable();

    /** Initializes and configures the Region and the memory to be protected
     */
    MPU_InitStruct.Enable           = MPU_REGION_ENABLE;
    MPU_InitStruct.Number           = MPU_REGION_NUMBER0;
    MPU_InitStruct.BaseAddress      = 0x0;
    MPU_InitStruct.Size             = MPU_REGION_SIZE_4GB;
    MPU_InitStruct.SubRegionDisable = 0x87;
    MPU_InitStruct.TypeExtField     = MPU_TEX_LEVEL0;
    MPU_InitStruct.AccessPermission = MPU_REGION_NO_ACCESS;
    MPU_InitStruct.DisableExec      = MPU_INSTRUCTION_ACCESS_DISABLE;
    MPU_InitStruct.IsShareable      = MPU_ACCESS_SHAREABLE;
    MPU_InitStruct.IsCacheable      = MPU_ACCESS_NOT_CACHEABLE;
    MPU_InitStruct.IsBufferable     = MPU_ACCESS_NOT_BUFFERABLE;

    HAL_MPU_ConfigRegion(&MPU_InitStruct);
    /* Enables the MPU */
    HAL_MPU_Enable(MPU_PRIVILEGED_DEFAULT);
}

void
HAL_TIM_PeriodElapsedCallback(TIM_HandleTypeDef* htim)
{
    if (htim->Instance == TIM6)
    {
        HAL_IncTick();
    }
    /* USER CODE BEGIN Callback 1 */

    if (htim->Instance == TIM5)
    {
        end_time = osKernelGetTickCount();
        tot_time = end_time - start_time;
        if (!time_synced)
        {
            // HAL_GPIO_TogglePin(LED2_GPIO_PORT, LED2_PIN);
            HAL_RTC_SetTime(&hrtc, &wavyTimeData.time, RTC_FORMAT_BCD);
            HAL_RTC_SetDate(&hrtc, &wavyTimeData.date, RTC_FORMAT_BCD);
            time_synced = 1;
            osThreadFlagsSet(sdcard_thread_handle, SDINIT_THR_FLAG);
            osThreadFlagsSet(sdcard_thread_handle, SDPREPW_THR_FLAG);
        }
        // THINK: Somewhere in here, there should be something that triggers
        //  packaging the previous seconds time data,
        //  however, it shouldnt trigger until after the first 2 seconds
        // FIXME: how do we know that this does not trigger twice??????
        // HAL_RTCEx_SetSynchroShift(&hrtc, RTC_SHIFTADD1S_SET, 0);
        // FIXME: Decide if this is the best way
        memcpy(wavyBackBuf, wavyFifo, ADXL_BUFF_SIZE_UNALIGNED);
        if (sdflags & SDPREPW)
        {
            osThreadFlagsSet(sdcard_thread_handle, SDPREPW_THR_FLAG);
            sdflags &= ~SDPREPW;
        }
        osThreadFlagsSet(sdcard_thread_handle, SDWRITE_THR_FLAG);
        // RTC_TimeTypeDef v;
        // RTC_DateTypeDef x;
        // HAL_RTC_GetTime(&hrtc, &v, RTC_FORMAT_BCD);
        // HAL_RTC_GetDate(&hrtc, &x, RTC_FORMAT_BCD);
        HAL_GPIO_TogglePin(LED2_GPIO_PORT, LED2_PIN);
        // end_time = osKernelGetTickCount();
        // tot_time = end_time - start_time;
        __NOP();
    }
    /* USER CODE END Callback 1 */
}

void
Error_Handler(void)
{
    /* USER CODE BEGIN Error_Handler_Debug */
    HAL_GPIO_WritePin(LED2_GPIO_PORT, LED2_PIN, GPIO_PIN_SET);
    HAL_GPIO_WritePin(LED1_GPIO_PORT, LED1_PIN, GPIO_PIN_RESET);
    HAL_GPIO_WritePin(LED3_GPIO_PORT, LED3_PIN, GPIO_PIN_RESET);
    /* User can add his own implementation to report the HAL error return state */
    __disable_irq();
    while (1)
    {
        HAL_GPIO_TogglePin(LED2_GPIO_PORT, LED2_PIN);
        HAL_GPIO_TogglePin(LED1_GPIO_PORT, LED1_PIN);
        HAL_GPIO_TogglePin(LED3_GPIO_PORT, LED3_PIN);
        HAL_Delay(250);
    }
    /* USER CODE END Error_Handler_Debug */
}
#ifdef USE_FULL_ASSERT
/**
 * @brief  Reports the name of the source file and the source line number
 *         where the assert_param error has occurred.
 * @param  file: pointer to the source file name
 * @param  line: assert_param error line source number
 * @retval None
 */
void
assert_failed(uint8_t* file,
              uint32_t line)
{
    /* USER CODE BEGIN 6 */
    /* User can add his own implementation to report the file name and line
       number, ex: printf("Wrong parameters value: file %s on line %d\r\n", file,
       line) */
    /* USER CODE END 6 */
}
#endif /* USE_FULL_ASSERT */

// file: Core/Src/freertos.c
/* USER CODE BEGIN Header */
/**
 ******************************************************************************
 * File Name          : freertos.c
 * Description        : Code for freertos applications
 ******************************************************************************
 * @attention
 *
 * Copyright (c) 2026 STMicroelectronics.
 * All rights reserved.
 *
 * This software is licensed under terms that can be found in the LICENSE file
 * in the root directory of this software component.
 * If no LICENSE file comes with this software, it is provided AS-IS.
 *
 ******************************************************************************
 */
/* USER CODE END Header */

#include "FreeRTOS.h"
#include "main.h"
#include "task.h"

/* Hook prototypes */
void
vApplicationStackOverflowHook(xTaskHandle xTask,
                              char*       pcTaskName);

/* USER CODE BEGIN 4 */
// Helpful when debugging
void
vApplicationStackOverflowHook(xTaskHandle xTask,
                              char*       pcTaskName)
{
    /* Run time stack overflow checking is performed if
    configCHECK_FOR_STACK_OVERFLOW is defined to 1 or 2. This hook function is
    called if a stack overflow is detected. */
    while (1);
}
/* USER CODE END 4 */
